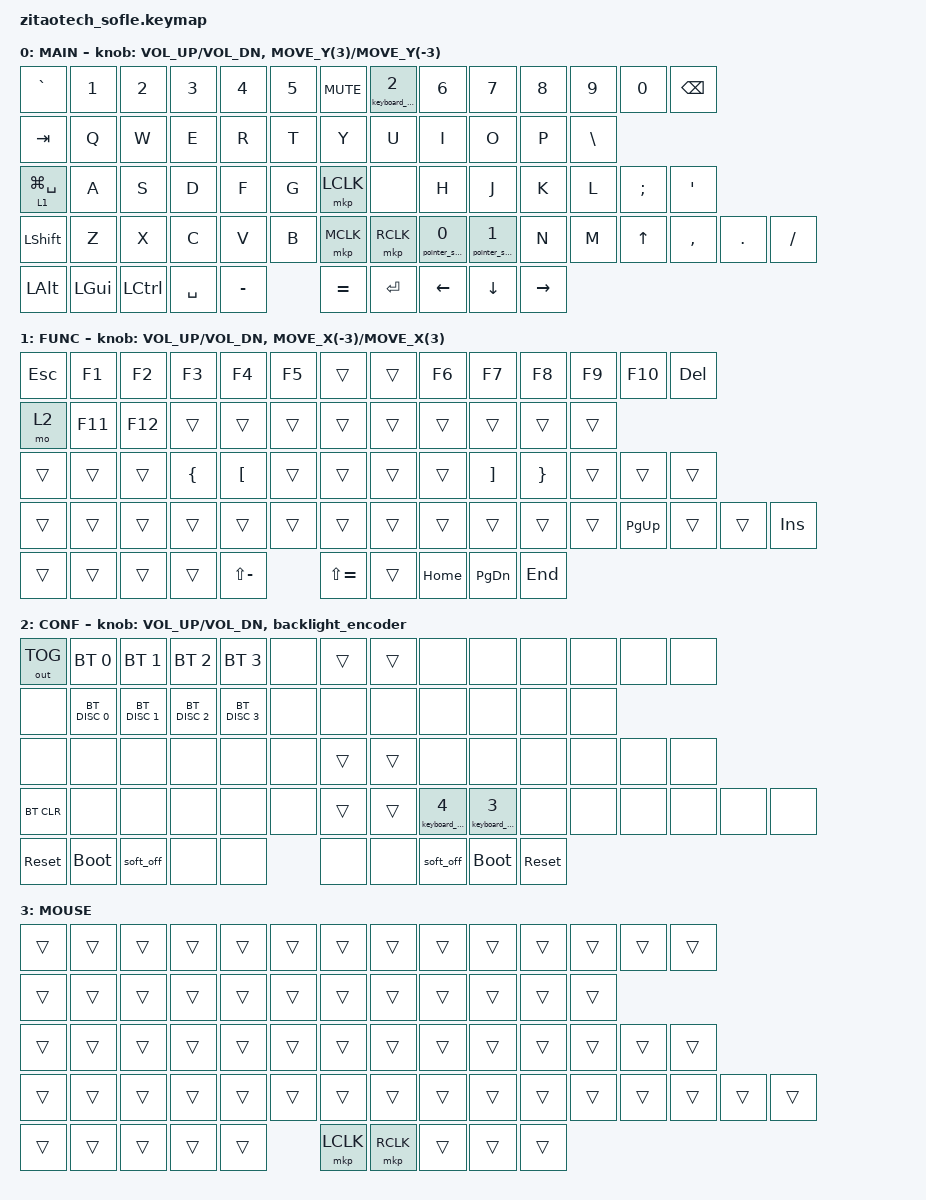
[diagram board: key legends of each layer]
/*
 * Copyright (c) 2025 ZitaoTech
 *
 * SPDX-License-Identifier: MIT
 */

#include <behaviors.dtsi>
#include <dt-bindings/zmk/keys.h>
#include <dt-bindings/zmk/bt.h>
#include <dt-bindings/zmk/outputs.h>
#include <dt-bindings/zmk/mouse.h>

/ {
    behaviors {
        pointer_sensitivity: z_psens {
            compatible = "zitaotech,behavior-pointing-sensitivity";
            #binding-cells = <1>;
            display-name = "Pointer sensitivity";
        };

        keyboard_light: z_kbl {
            compatible = "zitaotech,behavior-keyboard-backlight";
            #binding-cells = <1>;
            display-name = "Keyboard backlight";
        };

        scroll_step: z_sstep {
            compatible = "zitaotech,behavior-scroll-step";
            #binding-cells = <1>;
            display-name = "Wheel step";
        };

        scroll_encoder: z_sc_enc {
            compatible = "zmk,behavior-sensor-rotate-var";
            #sensor-binding-cells = <2>;
            bindings = <&scroll_step>, <&scroll_step>;
            /* Press sends a delta immediately; release is a no-op. */
            tap-ms = <0>;
        };

        backlight_encoder: z_bl_enc {
            compatible = "zmk,behavior-sensor-rotate";
            #sensor-binding-cells = <0>;
            bindings = <&keyboard_light 1>, <&keyboard_light 0>;
        };
    };

    input_processors {

        zip_temp_layer: zip_temp_layer {
            compatible = "zmk,input-processor-temp-layer";
            #input-processor-cells = <2>;
        };

        /omit-if-no-ref/ touch_mouse: touch_mouse {
            compatible = "zmk,input-processor-behaviors";
            #input-processor-cells = <0>;
            type = <INPUT_EV_KEY>;
            codes = <INPUT_BTN_TOUCH>;
            bindings = <&mo 3>;
        };

        ip_behaviors0: ip_behaviors0 {
            compatible = "zmk,input-processor-behaviors";
            #input-processor-cells = <0>;
            type = <INPUT_EV_KEY>;
            codes = <INPUT_BTN_0>;
            bindings = <&kp RIGHT>;
        };
        ip_behaviors1: ip_behaviors1 {
            compatible = "zmk,input-processor-behaviors";
            #input-processor-cells = <0>;
            type = <INPUT_EV_KEY>;
            codes = <INPUT_BTN_1>;
            bindings = <&kp LEFT>;
        };
        ip_behaviors2: ip_behaviors2 {
            compatible = "zmk,input-processor-behaviors";
            #input-processor-cells = <0>;
            type = <INPUT_EV_KEY>;
            codes = <INPUT_BTN_2>;
            bindings = <&kp DOWN>;
        };
        ip_behaviors3: ip_behaviors3 {
            compatible = "zmk,input-processor-behaviors";
            #input-processor-cells = <0>;
            type = <INPUT_EV_KEY>;
            codes = <INPUT_BTN_3>;
            bindings = <&kp UP>;
        };
    };
};

&msc_input_listener {
    device = <&scroll_step>;
};

#ifdef ZITAOTECH_A320_TOUCHPAD
/* Contact owns MOUSE in this variant; motion timeouts must not close it.
 * Other variants and the vendor fallback retain their existing motion policy. */
&bbtrackpad_listener {
    input-processors = <&touch_mouse>;
};

&trackpoint_listener {
    /delete-property/ input-processors;
};
#endif

/ {
    keymap {
        compatible = "zmk,keymap";

        default_layer {
            display-name = "MAIN";
            bindings = <
&kp GRAVE &kp N1 &kp N2 &kp N3 &kp N4 &kp N5 &kp C_MUTE &keyboard_light 2 &kp N6 &kp N7 &kp N8 &kp N9 &kp N0 &kp BACKSPACE
&kp TAB &kp Q &kp W &kp E &kp R &kp T &kp Y &kp U &kp I &kp O &kp P &kp BSLH
&lt 1 LG(SPACE) &kp A &kp S &kp D &kp F &kp G &mkp LCLK &none &kp H &kp J &kp K &kp L &kp SEMI &kp SQT
&kp LSHFT &kp Z &kp X &kp C &kp V &kp B &mkp MCLK &mkp RCLK &pointer_sensitivity 0 &pointer_sensitivity 1 &kp N &kp M &kp UP_ARROW &kp COMMA &kp PERIOD &kp SLASH
&kp LEFT_ALT &kp LEFT_GUI &kp LCTRL &kp SPACE &kp MINUS &kp EQUAL &kp ENTER &kp LEFT_ARROW &kp DOWN_ARROW &kp RIGHT_ARROW
            >;
            sensor-bindings = <&inc_dec_kp C_VOL_UP C_VOL_DN &scroll_encoder MOVE_Y(3) MOVE_Y(-3)>;
        };

        lower_layer {
            display-name = "FUNC";
            bindings = <
&kp ESCAPE &kp F1 &kp F2 &kp F3 &kp F4 &kp F5 &trans &trans &kp F6 &kp F7 &kp F8 &kp F9 &kp F10 &kp DELETE
&mo 2 &kp F11 &kp F12 &trans &trans &trans &trans &trans &trans &trans &trans &trans
&trans &trans &trans &kp LEFT_BRACE &kp LEFT_BRACKET &trans &trans &trans &trans &kp RIGHT_BRACKET &kp RIGHT_BRACE &trans &trans &trans
&trans &trans &trans &trans &trans &trans &trans &trans &trans &trans &trans &trans &kp PAGE_UP &trans &trans &kp INSERT
&trans &trans &trans &trans &kp LS(MINUS) &kp LS(EQUAL) &trans &kp HOME &kp PAGE_DOWN &kp END
            >;
            sensor-bindings = <&inc_dec_kp C_VOL_UP C_VOL_DN &scroll_encoder MOVE_X(-3) MOVE_X(3)>;
        };

        raise_layer {
            display-name = "CONF";
            bindings = <
&out OUT_TOG &bt BT_SEL 0 &bt BT_SEL 1 &bt BT_SEL 2 &bt BT_SEL 3 &none &trans &trans &none &none &none &none &none &none
&none &bt BT_DISC 0 &bt BT_DISC 1 &bt BT_DISC 2 &bt BT_DISC 3 &none &none &none &none &none &none &none
&none &none &none &none &none &none &trans &trans &none &none &none &none &none &none
&bt BT_CLR &none &none &none &none &none &trans &trans &keyboard_light 4 &keyboard_light 3 &none &none &none &none &none &none
&sys_reset &bootloader &soft_off &none &none &none &none &soft_off &bootloader &sys_reset
            >;
            sensor-bindings = <&inc_dec_kp C_VOL_UP C_VOL_DN &backlight_encoder>;
        };

        MOUSE_layer {
            display-name = "MOUSE";
            bindings = <
&trans &trans &trans &trans &trans &trans &trans &trans &trans &trans &trans &trans &trans &trans
&trans &trans &trans &trans &trans &trans &trans &trans &trans &trans &trans &trans
&trans &trans &trans &trans &trans &trans &trans &trans &trans &trans &trans &trans &trans &trans
&trans &trans &trans &trans &trans &trans &trans &trans &trans &trans &trans &trans &trans &trans &trans &trans
&trans &trans &trans &trans &trans &mkp LCLK &mkp RCLK &trans &trans &trans
            >;
        };

    };
};
